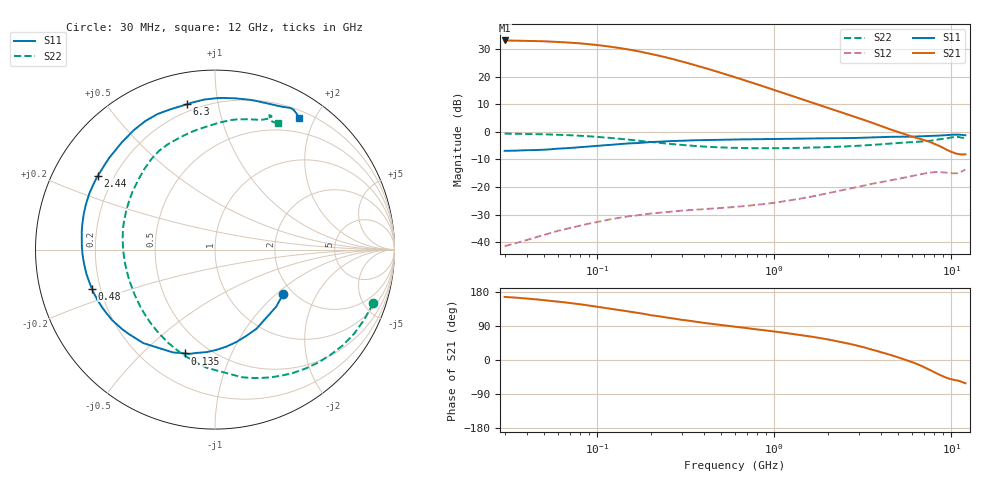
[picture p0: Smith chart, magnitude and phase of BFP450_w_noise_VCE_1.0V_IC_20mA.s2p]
! Infineon Technologies  Discrete & RF Semiconductors
! BFP450
! VCE =  1.0 V,  IC =  20 mA
! Common Emitter S-Parameters:  Nov 2015
# GHz  S  MA  R  50
!  f  S11  S21  S12  S22
! GHz  MAG  ANG  MAG  ANG  MAG  ANG  MAG  ANG
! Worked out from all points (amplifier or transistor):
!   239 points, 30 MHz to 12 GHz, reference 50 ohm
!   highest |S21| = 33.1 dB at 30 MHz (marker M1)
!   |S21| within 3 dB of that: start of sweep to 141.8 MHz
!   unconditionally stable (mu >= 1): 1.598 GHz to end of sweep
!   at 300 MHz: K = 0.30, MSG = 27.0 dB, |S12| = -28.5 dB
!   at 1.88 GHz: K = 1.05, MAG = 14.6 dB, |S12| = -22.6 dB
!   at 12 GHz: K = 1.10, MAG = 0.8 dB, |S12| = -13.7 dB
!   lowest NFmin = 1.10 dB at 450 MHz
!   S11 on the Smith chart (normalised r, x): 30 MHz: 1.78, -1.11; 135 MHz: 0.37, -0.68; 480 MHz: 0.17, -0.15; 2.44 GHz: 0.14, +0.28; 6.3 GHz: 0.16, +0.81; 12 GHz: 0.30, +1.79
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0.03  0.4538 -33.2  45.41 166.5  0.0085 79.4  0.9304 -18.8
0.04  0.4662 -43.0  44.69 162.2  0.011 75.7  0.9189 -25.0
0.05  0.4755 -53.3  43.87 157.9  0.0136 71.2  0.906 -31.0
0.06  0.4977 -62.3  42.72 154.3  0.0161 68.8  0.89 -36.8
0.07  0.511 -69.9  41.45 150.3  0.0181 65.6  0.8708 -42.3
0.085  0.5358 -80.3  39.5 145.4  0.0209 61.2  0.8419 -50.1
0.11  0.5728 -94.6  36.18 137.7  0.0249 55.3  0.7944 -62.1
0.135  0.6028 -106.3  32.96 131.3  0.0279 50.4  0.7499 -72.5
0.15  0.6191 -112.3  31.19 127.7  0.0295 48.0  0.7262 -78.2
0.175  0.6323 -120.1  28.46 123.4  0.0313 44.7  0.6862 -85.8
0.2  0.6566 -127.5  25.92 118.3  0.0331 41.8  0.6597 -94.2
0.24  0.6727 -135.8  22.75 113.0  0.0351 38.6  0.6203 -104.1
0.3  0.6952 -145.6  18.87 106.0  0.0374 35.3  0.581 -116.8
0.34  0.7023 -150.5  16.93 102.7  0.0384 34.1  0.5622 -123.3
0.48  0.7196 -162.4  12.23 93.3  0.0415 32.2  0.5264 -140.6
0.6  0.7291 -169.2  9.767 87.7  0.0437 32.3  0.5135 -150.7
1  0.7432 176.7  5.726 75.2  0.052 34.8  0.5068 -170.7
1.64  0.76 162.3  3.391 61.3  0.0678 36.5  0.5204 171.2
2.44  0.7717 147.9  2.214 46.4  0.0883 33.4  0.5426 154.7
4.5  0.8148 118.4  1.117 13.6  0.1317 17.2  0.617 125.0
6.3  0.8252 100.9  0.787 -9.3  0.1638 1.8  0.6589 105.3
12  0.8703 57.3  0.392 -61.4  0.2073 -42.1  0.7845 63.6
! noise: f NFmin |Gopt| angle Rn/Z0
0.45  1.1  0.33  -178  0.07
0.9  1.17  0.39  -178  0.07
1.9  1.31  0.49  -163  0.07
2.4  1.45  0.52  -153  0.08
